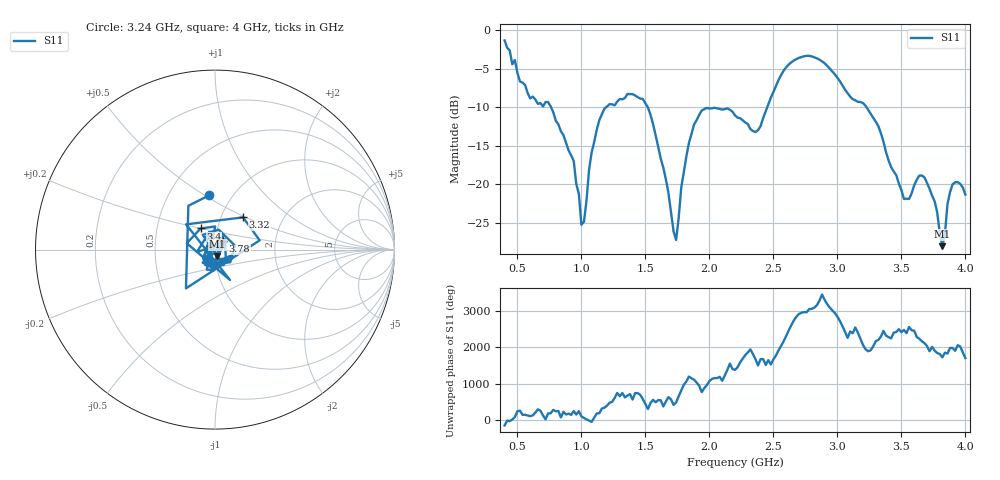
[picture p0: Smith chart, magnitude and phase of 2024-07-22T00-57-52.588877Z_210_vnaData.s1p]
!Created with skrf (http://scikit-rf.org).
# Hz S RI R 50.0
!freq ReS11 ImS11
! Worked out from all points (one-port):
!   181 points, 400 MHz to 4 GHz, reference 50 ohm
!   lowest |S11| = -28.1 dB at 3.82 GHz (marker M1), VSWR 1.08, Z = 51.1 - j3.83 ohm
!   |S11| at or under -10 dB: 762.6 MHz to 1.194 GHz (431.6 MHz wide, 44.1 % of centre); 1.518 GHz to 2.452 GHz (933.6 MHz wide, 47 % of centre); 3.227 GHz to end of sweep
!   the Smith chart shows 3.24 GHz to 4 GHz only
!   S11 on the Smith chart (normalised r, x): 3.24 GHz: 0.78, +0.52; 3.32 GHz: 1.27, +0.48; 3.4 GHz: 0.83, +0.20; 3.78 GHz: 1.09, +0.10; 4 GHz: 0.98, -0.17
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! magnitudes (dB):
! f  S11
! 400 MHz  -1.3
! 600 MHz  -8.9
! 740 MHz  -9.3
! 860 MHz  -13.7
! 940 MHz  -17.0
! 1 GHz  -25.3
! 1.14 GHz  -11.7
! 1.3 GHz  -8.9
! 1.52 GHz  -10.0
! 1.72 GHz  -26.1
! 1.74 GHz  -27.3
! 1.76 GHz  -24.4
! 1.84 GHz  -14.7
! 1.92 GHz  -11.0
! 2.2 GHz  -11.1
! 2.38 GHz  -13.0
! 2.66 GHz  -3.9
! 2.88 GHz  -4.0
! 3.1 GHz  -8.6
! 3.24 GHz  -10.3
! 3.32 GHz  -12.5
! 3.4 GHz  -16.9
! 3.56 GHz  -21.9
! 3.66 GHz  -18.9
! 3.78 GHz  -23.7
! 3.82 GHz  -28.1
! 3.9 GHz  -20.0
! 4 GHz  -21.4
